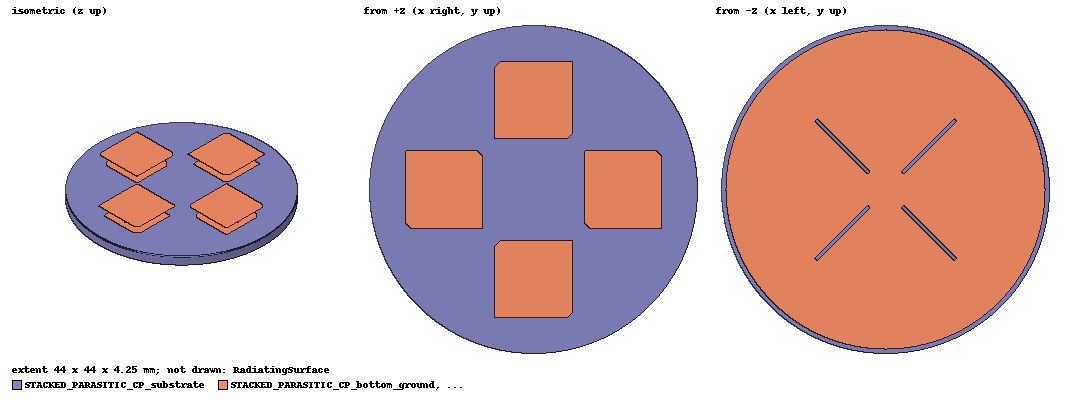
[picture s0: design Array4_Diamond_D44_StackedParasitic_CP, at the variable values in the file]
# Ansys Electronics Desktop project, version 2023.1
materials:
  vacuum: permittivity=1
  RO4350B_custom_D44_Topology: permittivity=3.48 permeability=1 dielectric_loss_tangent=0.0037
  copper: permeability=0.999991 conductivity=58000000
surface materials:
  Steel-oxidised-surface

design Array4_Diamond_D44_StackedParasitic_CP (HFSS, HFSS Modal Network, model units mm)
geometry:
  STACKED_PARASITIC_CP_substrate [RO4350B_custom_D44_Topology] = cylinder(axis=Z, base_centre=(0mm, 0mm, 0mm), radius=22mm, height=2mm, segments=128)
  STACKED_PARASITIC_CP_bottom_ground [copper] = circle(normal=Z, centre=(0mm, 0mm, 0mm), radius=21.4mm, segments=128)
  ground_isolation_slot_1 = polyline(z=0mm, xy in mm: (2.4112341, 2.1142493) (9.4823019, 9.1853171) (9.1853171, 9.4823019) (2.1142493, 2.4112341) (2.4112341, 2.1142493), closed, covered)
  ground_isolation_slot_2 = polyline(z=0mm, xy in mm: (-2.1142493, 2.4112341) (-9.1853171, 9.4823019) (-9.4823019, 9.1853171) (-2.4112341, 2.1142493) (-2.1142493, 2.4112341), closed, covered)
  ground_isolation_slot_3 = polyline(z=0mm, xy in mm: (-2.4112341, -2.1142493) (-9.4823019, -9.1853171) (-9.1853171, -9.4823019) (-2.1142493, -2.4112341) (-2.4112341, -2.1142493), closed, covered)
  ground_isolation_slot_4 = polyline(z=0mm, xy in mm: (2.1142493, -2.4112341) (9.1853171, -9.4823019) (9.4823019, -9.1853171) (2.4112341, -2.1142493) (2.1142493, -2.4112341), closed, covered)
  E1_driven_cp_patch [copper] = polyline(z=2mm, xy in mm: (8.3858153, -4.475) (16.495815, -4.475) (16.495815, 3.635) (15.655815, 4.475) (7.5458153, 4.475) (7.5458153, -3.635) (8.3858153, -4.475), closed, covered)
  P1_feed_pad [copper] = circle(normal=Z, centre=(14.720815mm, 0mm, 2mm), radius=0.45mm, segments=36)
  P1_lumped_port_sheet = polyline(x=14.720815mm, yz in mm: (-0.375, 0) (0.375, 0) (0.375, 2) (-0.375, 2) (-0.375, 0), closed, covered)
  E1_stacked_parasitic_patch [copper] = polyline(z=4.25mm, xy in mm: (7.4958153, -5.175) (17.195815, -5.175) (17.195815, 4.525) (16.545815, 5.175) (6.8458153, 5.175) (6.8458153, -4.525) (7.4958153, -5.175), closed, covered)
  E2_driven_cp_patch [copper] = polyline(z=2mm, xy in mm: (4.475, 8.3858153) (4.475, 16.495815) (-3.635, 16.495815) (-4.475, 15.655815) (-4.475, 7.5458153) (3.635, 7.5458153) (4.475, 8.3858153), closed, covered)
  P2_feed_pad [copper] = circle(normal=Z, centre=(9.0138997e-16mm, 14.720815mm, 2mm), radius=0.45mm, segments=36)
  P2_lumped_port_sheet = polyline(y=14.720815mm, xz in mm: (0.375, 0) (-0.375, 0) (-0.375, 2) (0.375, 2) (0.375, 0), closed, covered)
  E2_stacked_parasitic_patch [copper] = polyline(z=4.25mm, xy in mm: (5.175, 7.4958153) (5.175, 17.195815) (-4.525, 17.195815) (-5.175, 16.545815) (-5.175, 6.8458153) (4.525, 6.8458153) (5.175, 7.4958153), closed, covered)
  E3_driven_cp_patch [copper] = polyline(z=2mm, xy in mm: (-8.3858153, 4.475) (-16.495815, 4.475) (-16.495815, -3.635) (-15.655815, -4.475) (-7.5458153, -4.475) (-7.5458153, 3.635) (-8.3858153, 4.475), closed, covered)
  P3_feed_pad [copper] = circle(normal=Z, centre=(-14.720815mm, 1.8027799e-15mm, 2mm), radius=0.45mm, segments=36)
  P3_lumped_port_sheet = polyline(x=-14.720815mm, yz in mm: (0.375, 0) (-0.375, 0) (-0.375, 2) (0.375, 2) (0.375, 0), closed, covered)
  E3_stacked_parasitic_patch [copper] = polyline(z=4.25mm, xy in mm: (-7.4958153, 5.175) (-17.195815, 5.175) (-17.195815, -4.525) (-16.545815, -5.175) (-6.8458153, -5.175) (-6.8458153, 4.525) (-7.4958153, 5.175), closed, covered)
  E4_driven_cp_patch [copper] = polyline(z=2mm, xy in mm: (-4.475, -8.3858153) (-4.475, -16.495815) (3.635, -16.495815) (4.475, -15.655815) (4.475, -7.5458153) (-3.635, -7.5458153) (-4.475, -8.3858153), closed, covered)
  P4_feed_pad [copper] = circle(normal=Z, centre=(-2.7041699e-15mm, -14.720815mm, 2mm), radius=0.45mm, segments=36)
  P4_lumped_port_sheet = polyline(y=-14.720815mm, xz in mm: (-0.375, 0) (0.375, 0) (0.375, 2) (-0.375, 2) (-0.375, 0), closed, covered)
  E4_stacked_parasitic_patch [copper] = polyline(z=4.25mm, xy in mm: (-5.175, -7.4958153) (-5.175, -17.195815) (4.525, -17.195815) (5.175, -16.545815) (5.175, -6.8458153) (-4.525, -6.8458153) (-5.175, -7.4958153), closed, covered)
  STACKED_PARASITIC_CP_bottom_ground.subtract(ground_isolation_slot_1..ground_isolation_slot_4)
  RadiatingSurface [vacuum] = region(absolute_offset=14.285714mm on all sides)
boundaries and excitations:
  STACKED_PARASITIC_CP_PEC_metallization: Perfect E Objects=[STACKED_PARASITIC_CP_bottom_ground, E1_driven_cp_patch, P1_feed_pad, E1_stacked_parasitic_patch, E2_driven_cp_patch, P2_feed_pad, E2_stacked_parasitic_patch, E3_driven_cp_patch, P3_feed_pad, E3_stacked_parasitic_patch, E4_driven_cp_patch, P4_feed_pad, E4_stacked_parasitic_patch]
  Open1: Radiation Objects=RadiatingSurface
  P1: Lumped Port Objects=P1_lumped_port_sheet LumpedPortType=Modal Modes{Mode1{IntLine{(14.720815, 0, 2) -> (14.720815, 0, 0)} CharImp=Zpi RenormImp=50ohm}} Impedance=50ohm
  P2: Lumped Port Objects=P2_lumped_port_sheet LumpedPortType=Modal Modes{Mode1{IntLine{(0, 14.720815, 2) -> (0, 14.720815, 0)} CharImp=Zpi RenormImp=50ohm}} Impedance=50ohm
  P3: Lumped Port Objects=P3_lumped_port_sheet LumpedPortType=Modal Modes{Mode1{IntLine{(-14.720815, 0, 2) -> (-14.720815, 0, 0)} CharImp=Zpi RenormImp=50ohm}} Impedance=50ohm
  P4: Lumped Port Objects=P4_lumped_port_sheet LumpedPortType=Modal Modes{Mode1{IntLine{(0, -14.720815, 2) -> (0, -14.720815, 0)} CharImp=Zpi RenormImp=50ohm}} Impedance=50ohm
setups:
  Setup_CH9: HfssDriven Frequency=8GHz MaxDeltaS=0.05 MaximumPasses=4 MinimumPasses=1 MinimumConvergedPasses=1 PercentRefinement=30 BasisOrder=1 PortAccuracy=2 DrivenSolverType="Direct Solver"
    sweep Sweep_CH9: 7.738GHz to 8.233GHz, 3 points; Type=Discrete SaveFields SaveRadFields
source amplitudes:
  P1:1: 1W 0deg
  P2:1, P3:1, P4:1: 0W 0deg
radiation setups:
  3D: Infinite Sphere Theta=0deg..180deg step 2deg Phi=-180deg..180deg step 2deg
  Elevation: Infinite Sphere Theta=-180deg..180deg step 1deg Phi=0deg..90deg step 90deg
  Azimuth: Infinite Sphere Theta=90deg..90deg step 0deg Phi=-180deg..180deg step 1deg
  Upper_Hemisphere_5deg: Infinite Sphere Theta=0deg..360deg step 5deg Phi=0deg..90deg step 5deg
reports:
  STACKED_PARASITIC_CP_S_Parameters: dB(S(P4:1,P4:1)), dB(S(P2:1,P2:1)), dB(S(P3:1,P3:1)), dB(S(P1:1,P1:1)), dB(S(P4:1,P2:1)), dB(S(P4:1,P3:1)), dB(S(P4:1,P1:1)), dB(S(P2:1,P4:1)), dB(S(P2:1,P3:1)), dB(S(P2:1,P1:1)), dB(S(P3:1,P4:1)), dB(S(P3:1,P2:1)), dB(S(P3:1,P1:1)), dB(S(P1:1,P4:1)), dB(S(P1:1,P2:1)), dB(S(P1:1,P3:1)) vs Freq on Setup_CH9 : Sweep_CH9
  STACKED_PARASITIC_CP_GainTotal_8GHz: dB(GainTotal) vs Phi, Theta on Setup_CH9 : Sweep_CH9, Upper_Hemisphere_5deg [Freq=8GHz]
  STACKED_PARASITIC_CP_AxialRatio_8GHz: AxialRatioValue vs Phi, Theta on Setup_CH9 : Sweep_CH9, Upper_Hemisphere_5deg [Freq=8GHz]
